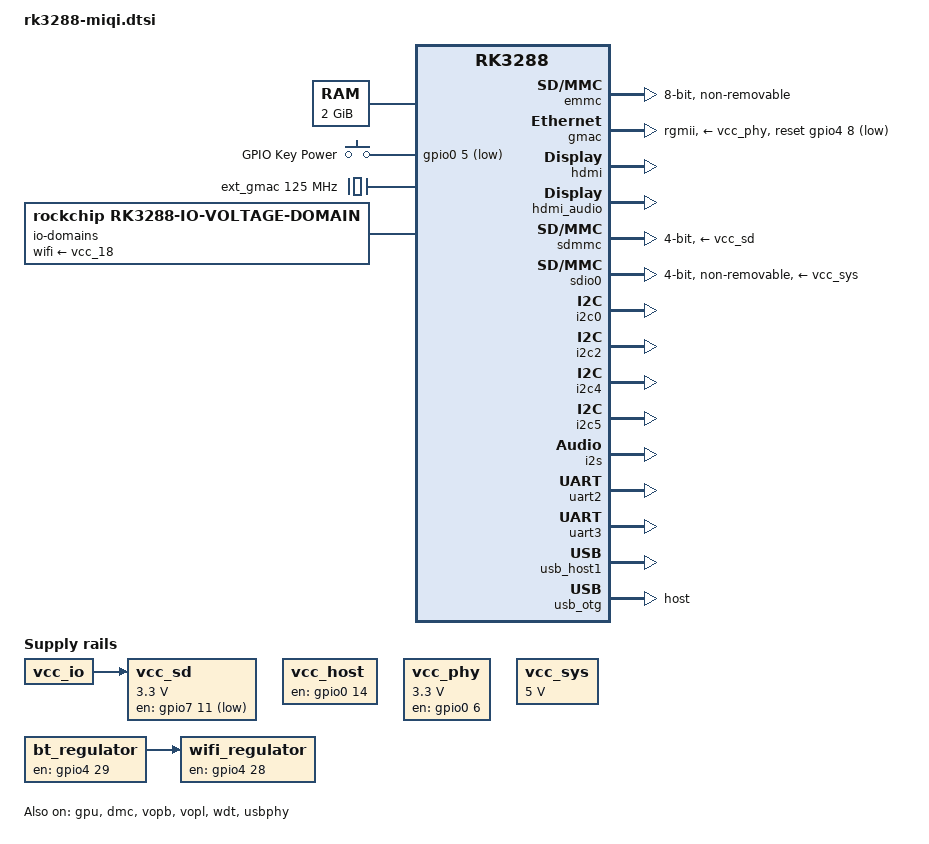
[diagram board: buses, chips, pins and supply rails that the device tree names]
/*
 * This file is dual-licensed: you can use it either under the terms
 * of the GPL or the X11 license, at your option. Note that this dual
 * licensing only applies to this file, and not this project as a
 * whole.
 *
 *  a) This file is free software; you can redistribute it and/or
 *     modify it under the terms of the GNU General Public License as
 *     published by the Free Software Foundation; either version 2 of the
 *     License, or (at your option) any later version.
 *
 *     This file is distributed in the hope that it will be useful,
 *     but WITHOUT ANY WARRANTY; without even the implied warranty of
 *     MERCHANTABILITY or FITNESS FOR A PARTICULAR PURPOSE.  See the
 *     GNU General Public License for more details.
 *
 * Or, alternatively,
 *
 *  b) Permission is hereby granted, free of charge, to any person
 *     obtaining a copy of this software and associated documentation
 *     files (the "Software"), to deal in the Software without
 *     restriction, including without limitation the rights to use,
 *     copy, modify, merge, publish, distribute, sublicense, and/or
 *     sell copies of the Software, and to permit persons to whom the
 *     Software is furnished to do so, subject to the following
 *     conditions:
 *
 *     The above copyright notice and this permission notice shall be
 *     included in all copies or substantial portions of the Software.
 *
 *     THE SOFTWARE IS PROVIDED "AS IS", WITHOUT WARRANTY OF ANY KIND,
 *     EXPRESS OR IMPLIED, INCLUDING BUT NOT LIMITED TO THE WARRANTIES
 *     OF MERCHANTABILITY, FITNESS FOR A PARTICULAR PURPOSE AND
 *     NONINFRINGEMENT. IN NO EVENT SHALL THE AUTHORS OR COPYRIGHT
 *     HOLDERS BE LIABLE FOR ANY CLAIM, DAMAGES OR OTHER LIABILITY,
 *     WHETHER IN AN ACTION OF CONTRACT, TORT OR OTHERWISE, ARISING
 *     FROM, OUT OF OR IN CONNECTION WITH THE SOFTWARE OR THE USE OR
 *     OTHER DEALINGS IN THE SOFTWARE.
 */

#include <dt-bindings/pwm/pwm.h>
#include "rk3288.dtsi"
#include "rk3288-veyron-lpddr.dtsi"

/ {
	memory {
		device_type = "memory";
		reg = <0x0 0x80000000>;
	};

	aliases {
		i2c10 = &edp;
	};

	gpio-keys {
		compatible = "gpio-keys";
		#address-cells = <1>;
		#size-cells = <0>;
		autorepeat;

		pinctrl-names = "default";
		pinctrl-0 = <&pwrbtn>;

		button@0 {
			gpios = <&gpio0 5 GPIO_ACTIVE_LOW>;
			linux,code = <116>;
			label = "GPIO Key Power";
			linux,input-type = <1>;
			gpio-key,wakeup = <1>;
			debounce-interval = <100>;
		};
	};

	/* This turns on USB vbus for both host0 (ehci) and host1 (dwc2) */
	vcc_host: vcc-host-regulator {
		compatible = "regulator-fixed";
		enable-active-high;
		gpio = <&gpio0 14 GPIO_ACTIVE_HIGH>;
		pinctrl-names = "default";
		pinctrl-0 = <&host_vbus_drv>;
		regulator-name = "vcc_host";
		regulator-always-on;
		regulator-boot-on;
	};

	vcc_phy: vcc-phy-regulator {
		compatible = "regulator-fixed";
		enable-active-high;
		gpio = <&gpio0 6 GPIO_ACTIVE_HIGH>;
		pinctrl-names = "default";
		pinctrl-0 = <&eth_phy_pwr>;
		regulator-name = "vcc_phy";
		regulator-min-microvolt = <3300000>;
		regulator-max-microvolt = <3300000>;
		regulator-always-on;
		regulator-boot-on;
	};

	vcc_sys: vsys-regulator {
		compatible = "regulator-fixed";
		regulator-name = "vcc_sys";
		regulator-min-microvolt = <5000000>;
		regulator-max-microvolt = <5000000>;
		regulator-always-on;
		regulator-boot-on;
	};

	/*
	 * NOTE: vcc_sd isn't hooked up on v1.0 boards where power comes from
	 * vcc_io directly.  Those boards won't be able to power cycle SD cards
	 * but it shouldn't hurt to toggle this pin there anyway.
	 */
	vcc_sd: sdmmc-regulator {
		compatible = "regulator-fixed";
		gpio = <&gpio7 11 GPIO_ACTIVE_LOW>;
		pinctrl-names = "default";
		pinctrl-0 = <&sdmmc_pwr>;
		regulator-name = "vcc_sd";
		regulator-min-microvolt = <3300000>;
		regulator-max-microvolt = <3300000>;
		startup-delay-us = <100000>;
		vin-supply = <&vcc_io>;
	};

	ext_gmac: external-gmac-clock {
		compatible = "fixed-clock";
		clock-frequency = <125000000>;
		clock-output-names = "ext_gmac";
		#clock-cells = <0>;
	};

	wifi_regulator: wifi-regulator {
		/*
		 * On the module itself this is one of these (depending
		 * on the actual card populated):
		 * - SDIO_RESET_L_WL_REG_ON
		 * - PDN (power down when low)
		 */
		compatible = "regulator-fixed";
		enable-active-high;
		gpio = <&gpio4 28 GPIO_ACTIVE_HIGH>;
		pinctrl-names = "default";
		pinctrl-0 = <&wifi_enable_h>;
		regulator-name = "wifi_regulator";

		/* Faux input supply.  See bt_regulator description. */
		vin-supply = <&bt_regulator>;
	};

	bt_regulator: bt-regulator {
		/*
		 * On the module itself this is one of these (depending
		 * on the actual card pouplated):
		 * - BT_I2S_WS_BT_RFDISABLE_L
		 * - No connect
		 */
		compatible = "regulator-fixed";
		enable-active-high;
		gpio = <&gpio4 29 GPIO_ACTIVE_HIGH>;
		pinctrl-names = "default";
		pinctrl-0 = <&bt_enable_l>;
		regulator-name = "bt_regulator";
	};

	io-domains {
		compatible = "rockchip,rk3288-io-voltage-domain";
		rockchip,grf = <&grf>;
		wifi-supply = <&vcc_18>;
	};
};

&cpu0 {
	cpu0-supply = <&vdd_cpu>;
};

&gpu {
	status = "okay";
	mali-supply = <&vdd_gpu>;
};

&dmc {
	status = "okay";
	logic-supply = <&vdd_log>;
	rockchip,odt-disable-freq = <333000000>;
	rockchip,dll-disable-freq = <333000000>;
	rockchip,sr-enable-freq = <333000000>;
	rockchip,auto-self-refresh-cnt = <0>;
	rockchip,auto-power-down-cnt = <64>;
	rockchip,ddr-speed-bin = <21>;
	rockchip,trcd = <10>;
	rockchip,trp = <10>;
	rockchip,pd-enable-freq = <533000000>;
	operating-points = <
		/* KHz    uV */
		200000 1050000
		333000 1100000
		533000 1200000
	>;

	#cooling-cells = <2>; /* min followed by max */
};

&emmc {
	broken-cd;
	bus-width = <8>;
	cap-mmc-highspeed;
	disable-wp;
	non-removable;
	num-slots = <1>;
	pinctrl-names = "default";
	pinctrl-0 = <&emmc_clk &emmc_cmd &emmc_pwr &emmc_bus8>;
	status = "okay";
};

&gmac {
	status = "okay";

	phy-supply = <&vcc_phy>;

	phy-mode = "rgmii";
	clock_in_out = "input";

	assigned-clocks = <&cru SCLK_MAC>;
	assigned-clock-parents = <&ext_gmac>;

	pinctrl-names = "default";
	pinctrl-0 = <&rgmii_pins>, <&phy_rst>, <&phy_pmeb>, <&phy_int>;

	tx_delay = <0x30>;
	rx_delay = <0x10>;

	resets = <&cru SRST_MAC>;
	reset-names = "stmmaceth";

	/* These properties are not actually used in rgmii mode,
	 * but the documentation states they're still required
	 * (including the active-low flag). */
	snps,reset-gpio = <&gpio4 8 0>;
	snps,reset-active-low;
	snps,reset-delays-us = <0 10000 1000000>;
};

&hdmi {
	ddc-i2c-bus = <&i2c5>;
	status = "okay";
};

&hdmi_audio {
	status = "okay";
};

&vopb {
	status = "okay";
};

&vopb_mmu {
	status = "okay";
};

&vopl {
	status = "okay";
};

&vopl_mmu {
	status = "okay";
};

&sdmmc {
	bus-width = <4>;
	cap-mmc-highspeed;
	cap-sd-highspeed;
	card-detect-delay = <200>;
	disable-wp;			/* wp not hooked up */
	num-slots = <1>;
	pinctrl-names = "default";
	pinctrl-0 = <&sdmmc_clk &sdmmc_cmd &sdmmc_cd &sdmmc_bus4>;
	status = "okay";
	vmmc-supply = <&vcc_sd>;
	vqmmc-supply = <&vccio_sd>;
};

&sdio0 {
	broken-cd;
	bus-width = <4>;
	cap-sd-highspeed;
	sd-uhs-sdr12;
	sd-uhs-sdr25;
	sd-uhs-sdr50;
	sd-uhs-sdr104;
	clock-freq-min-max = <400000 50000000>;
	cap-sdio-irq;
	card-external-vcc-supply = <&wifi_regulator>;
	clocks = <&cru HCLK_SDIO0>, <&cru SCLK_SDIO0>, <&cru SCLK_SDIO0_DRV>,
		 <&cru SCLK_SDIO0_SAMPLE>;
	clock-names = "biu", "ciu", "ciu_drv", "ciu_sample";
	keep-power-in-suspend;
	non-removable;
	num-slots = <1>;
	default-sample-phase = <90>;
	pinctrl-names = "default";
	pinctrl-0 = <&sdio0_clk &sdio0_cmd &sdio0_bus4>;
	status = "okay";
	vmmc-supply = <&vcc_sys>;
};

&i2c0 {
	status = "okay";
};

&i2c2 {
	status = "okay";
};

&i2c4 {
	status = "okay";
};

&i2c5 {
	status = "okay";
};

&i2s {
	status = "okay";
	clock-names = "i2s_hclk", "i2s_clk", "i2s_clk_out";
	clocks = <&cru HCLK_I2S0>, <&cru SCLK_I2S0>, <&cru SCLK_I2S0_OUT>;
};

&wdt {
	status = "okay";
};

&uart2 {
	status = "okay";
};

&uart3 {
	status = "okay";
};

&pinctrl {
	pcfg_pull_none_drv_8ma: pcfg-pull-none-drv-8ma {
		drive-strength = <8>;
	};

	pcfg_pull_up_drv_8ma: pcfg-pull-up-drv-8ma {
		bias-pull-up;
		drive-strength = <8>;
	};

	pcfg_output_high: pcfg-output-high {
		output-high;
	};

	pcfg_output_low: pcfg-output-low {
		output-low;
	};

	buttons {
		pwrbtn: pwrbtn {
			rockchip,pins = <0 5 RK_FUNC_GPIO &pcfg_pull_up>;
		};
	};

	codec {
		hp_det: hp-det {
			rockchip,pins = <7 7 RK_FUNC_GPIO &pcfg_pull_up>;
		};
	};

	gmac {
		phy_rst: phy-rst {
			rockchip,pins = <4 8 RK_FUNC_GPIO &pcfg_output_high>;
		};

		phy_pmeb: phy-pmeb {
			rockchip,pins = <0 8 RK_FUNC_GPIO &pcfg_pull_up>;
		};

		phy_int: phy-int {
			rockchip,pins = <0 9 RK_FUNC_GPIO &pcfg_pull_up>;
		};
	};

	pmic {
		pmic_int: pmic-int {
			rockchip,pins = <RK_GPIO0 4 RK_FUNC_GPIO &pcfg_pull_up>;
		};
	};

	sdmmc {
		/*
		 * Default drive strength isn't enough to achieve even
		 * high-speed mode on EVB board so bump up to 8ma.
		 */
		sdmmc_bus4: sdmmc-bus4 {
			rockchip,pins = <6 16 RK_FUNC_1 &pcfg_pull_up_drv_8ma>,
					<6 17 RK_FUNC_1 &pcfg_pull_up_drv_8ma>,
					<6 18 RK_FUNC_1 &pcfg_pull_up_drv_8ma>,
					<6 19 RK_FUNC_1 &pcfg_pull_up_drv_8ma>;
		};

		sdmmc_clk: sdmmc-clk {
			rockchip,pins = <6 20 RK_FUNC_1 &pcfg_pull_none_drv_8ma>;
		};

		sdmmc_cmd: sdmmc-cmd {
			rockchip,pins = <6 21 RK_FUNC_1 &pcfg_pull_up_drv_8ma>;
		};

		sdmmc_pwr: sdmmc-pwr {
			rockchip,pins = <7 11 RK_FUNC_GPIO &pcfg_pull_none>;
		};
	};

	sdio0 {
		wifi_enable_h: wifienable-h {
			rockchip,pins = <4 28 RK_FUNC_GPIO &pcfg_pull_none>;
		};

		/* NOTE: mislabelled on schematic; should be bt_enable_h */
		bt_enable_l: bt-enable-l {
			rockchip,pins = <4 29 RK_FUNC_GPIO &pcfg_pull_none>;
		};

		bt_host_wake: bt-host-wake {
			rockchip,pins = <4 31 RK_FUNC_GPIO &pcfg_pull_down>;
		};

		/*
		 * We run sdio0 at max speed; bump up drive strength.
		 * We also have external pulls, so disable the internal ones.
		 */
		sdio0_bus4: sdio0-bus4 {
			rockchip,pins = <4 20 RK_FUNC_1 &pcfg_pull_none_drv_8ma>,
					<4 21 RK_FUNC_1 &pcfg_pull_none_drv_8ma>,
					<4 22 RK_FUNC_1 &pcfg_pull_none_drv_8ma>,
					<4 23 RK_FUNC_1 &pcfg_pull_none_drv_8ma>;
		};

		sdio0_cmd: sdio0-cmd {
			rockchip,pins = <4 24 RK_FUNC_1 &pcfg_pull_none_drv_8ma>;
		};

		sdio0_clk: sdio0-clk {
			rockchip,pins = <4 25 RK_FUNC_1 &pcfg_pull_none_drv_8ma>;
		};
	};

	usb {
		host_vbus_drv: host-vbus-drv {
			rockchip,pins = <0 14 RK_FUNC_GPIO &pcfg_pull_none>;
		};
	};

	eth_phy {
		eth_phy_pwr: eth-phy-pwr {
			rockchip,pins = <0 6 RK_FUNC_GPIO &pcfg_pull_none>;
		};
	};

	touch {
		vtl_reset: vtl-reset {
			rockchip,pins = <7 5 RK_FUNC_GPIO &pcfg_pull_none>;
		};

		vtl_irq: vtl-irq {
			rockchip,pins = <7 6 RK_FUNC_GPIO &pcfg_pull_none>;
		};
	};
};

&usbphy {
	status = "okay";
};

&usb_host0_ehci {
	status = "disabled";
	needs-reset-on-resume;
};

&usb_host1 {
	status = "okay";
};

&vopb {
	status = "okay";
};

&vopb_mmu {
	status = "okay";
};

&vopl {
	status = "okay";
};

&vopl_mmu {
	status = "okay";
};

&usb_otg {
	dr_mode = "host";
	status = "okay";
	assigned-clocks = <&cru SCLK_USBPHY480M_SRC>;
	assigned-clock-parents = <&cru SCLK_OTGPHY0>;
};
